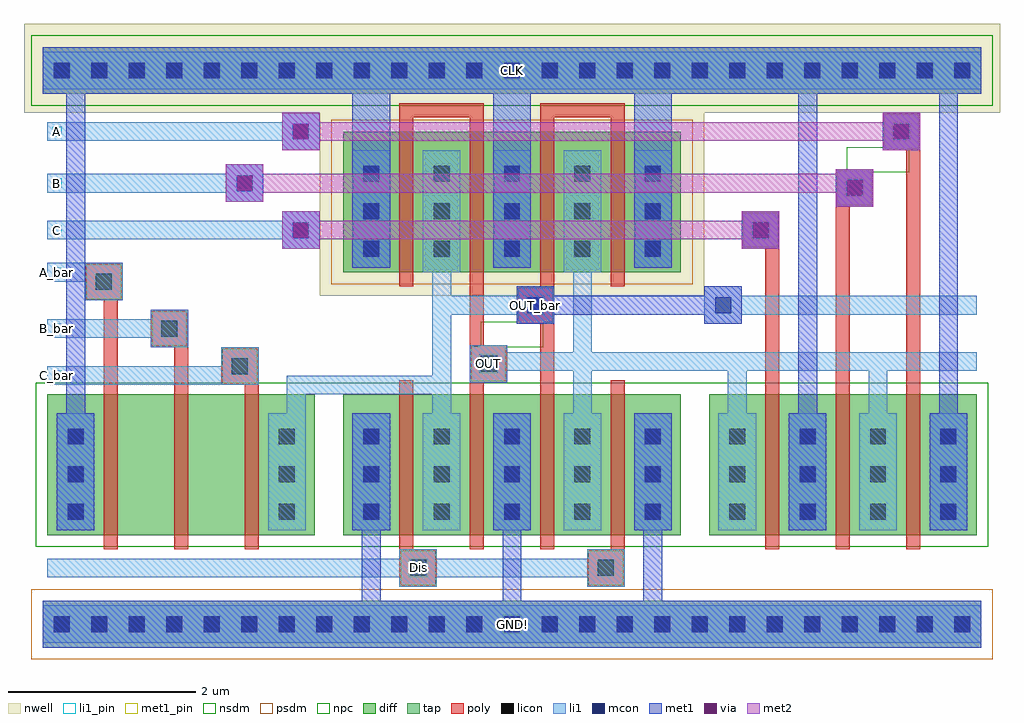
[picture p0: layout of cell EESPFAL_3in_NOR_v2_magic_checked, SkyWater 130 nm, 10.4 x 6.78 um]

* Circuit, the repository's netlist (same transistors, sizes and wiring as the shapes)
* NGSPICE file created from EESPFAL_3in_NOR_v2_magic_checked.ext - technology: sky130A

.subckt EESPFAL_3in_NOR_v2_magic_checked OUT A A_bar B B_bar C C_bar Dis OUT_bar GND
+ CLK
X0 CLK OUT_bar OUT CLK sky130_fd_pr__pfet_01v8 ad=2.7e+12p pd=1.26e+07u as=9e+11p ps=4.2e+06u w=1.5e+06u l=150000u M=2
X1 OUT B CLK GND sky130_fd_pr__nfet_01v8 ad=2.7e+12p pd=1.26e+07u as=7.7e+12p ps=3.36e+07u w=1.5e+06u l=150000u
X2 OUT_bar OUT CLK CLK sky130_fd_pr__pfet_01v8 ad=9e+11p pd=4.2e+06u as=0p ps=0u w=1.5e+06u l=150000u M=2
X3 a_n1990_570# B_bar a_n2140_570# GND sky130_fd_pr__nfet_01v8 ad=9e+11p pd=4.2e+06u as=9e+11p ps=4.2e+06u w=1.5e+06u l=150000u
X4 CLK A OUT GND sky130_fd_pr__nfet_01v8 ad=0p pd=0u as=0p ps=0u w=1.5e+06u l=150000u
X5 OUT OUT_bar GND GND sky130_fd_pr__nfet_01v8 ad=0p pd=0u as=2.7e+12p ps=1.26e+07u w=1.5e+06u l=150000u
X6 CLK C OUT GND sky130_fd_pr__nfet_01v8 ad=0p pd=0u as=0p ps=0u w=1.5e+06u l=150000u
X7 OUT_bar Dis GND GND sky130_fd_pr__nfet_01v8 ad=1.8e+12p pd=8.4e+06u as=0p ps=0u w=1.5e+06u l=150000u
X8 a_n2140_570# A_bar CLK GND sky130_fd_pr__nfet_01v8 ad=0p pd=0u as=0p ps=0u w=1.5e+06u l=150000u
X9 GND Dis OUT GND sky130_fd_pr__nfet_01v8 ad=0p pd=0u as=0p ps=0u w=1.5e+06u l=150000u
X10 OUT_bar C_bar a_n1990_570# GND sky130_fd_pr__nfet_01v8 ad=0p pd=0u as=0p ps=0u w=1.5e+06u l=150000u
X11 GND OUT OUT_bar GND sky130_fd_pr__nfet_01v8 ad=0p pd=0u as=0p ps=0u w=1.5e+06u l=150000u
.ends

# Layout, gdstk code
import gdstk
lib = gdstk.Library(unit=1e-6, precision=1e-09)
def R(c, l, rs):  # rectangles x0, y0, x1, y1
    for r in rs: c.add(gdstk.rectangle(r[:2], r[2:], *l))
def A(c, l, x, y, w, h, nx, ny, dx, dy):  # array of equal rectangles
    R(c, l, [(x+i*dx, y+j*dy, x+i*dx+w, y+j*dy+h) for i in range(nx) for j in range(ny)])
nwell = (64, 20)
diff = (65, 20)
tap = (65, 44)
poly = (66, 20)
licon = (66, 44)
li1_pin = (67, 16)
li1 = (67, 20)
mcon = (67, 44)
met1_pin = (68, 16)
met1 = (68, 20)
via = (68, 44)
met2 = (69, 20)
nsdm = (93, 44)
psdm = (94, 20)
npc = (95, 20)

eespfal_3in_nor_v2_magic = lib.new_cell('EESPFAL_3in_NOR_v2_magic_checked')
R(eespfal_3in_nor_v2_magic, nwell, [(-8.55,5.4,-4.45,7.35), (-11.7,7.35,-1.3,8.3)])
R(eespfal_3in_nor_v2_magic, diff, [(-11.45,2.85,-8.6,4.35), (-8.3,2.85,-4.7,4.35), (-4.4,2.85,-1.55,4.35), (-8.3,5.65,-4.7,7.15)])
R(eespfal_3in_nor_v2_magic, tap, [(-11.5,1.65,-1.5,2.15), (-11.5,7.55,-1.5,8.05)])
R(eespfal_3in_nor_v2_magic, poly, [(-7.7,2.3,-7.3,2.7), (-5.7,2.3,-5.3,2.7), (-10.85,2.7,-10.7,5.35), (-10.1,2.7,-9.95,4.85), (-9.35,2.7,-9.2,4.45), (-7.7,2.7,-7.55,4.5), (-6.95,2.7,-6.8,4.475), (-6.2,2.7,-6.05,5.1), (-5.45,2.7,-5.3,4.5), (-3.8,2.7,-3.65,5.9), (-3.05,2.7,-2.9,6.35), (-2.3,2.7,-2.15,6.95), (-9.6,4.45,-9.2,4.85), (-6.95,4.475,-6.55,4.875), (-10.35,4.85,-9.95,5.25), (-6.95,4.875,-6.8,7.3), (-6.45,5.1,-6.05,5.5), (-11.05,5.35,-10.65,5.75), (-7.7,5.5,-7.55,7.3), (-6.2,5.5,-6.05,7.3), (-5.45,5.5,-5.3,7.3), (-4.05,5.9,-3.65,6.3), (-3.05,6.35,-2.65,6.75), (-2.55,6.95,-2.15,7.35), (-7.7,7.3,-6.8,7.45), (-6.2,7.3,-5.3,7.45)])
A(eespfal_3in_nor_v2_magic, licon, -11.385, 1.815, 0.17, 0.17, 25, 2, 0.4, 5.9)
A(eespfal_3in_nor_v2_magic, licon, -11.235, 3.015, 0.17, 0.17, 1, 3, 0, 0.4)
A(eespfal_3in_nor_v2_magic, licon, -8.985, 3.015, 0.17, 0.17, 1, 3, 0, 0.4)
A(eespfal_3in_nor_v2_magic, licon, -8.085, 3.015, 0.17, 0.17, 5, 3, 0.75, 0.4)
A(eespfal_3in_nor_v2_magic, licon, -4.185, 3.015, 0.17, 0.17, 4, 3, 0.75, 0.4)
A(eespfal_3in_nor_v2_magic, licon, -8.085, 5.815, 0.17, 0.17, 5, 3, 0.75, 0.4)
R(eespfal_3in_nor_v2_magic, licon, [(-7.585,2.415,-7.415,2.585), (-5.585,2.415,-5.415,2.585), (-9.485,4.565,-9.315,4.735), (-6.835,4.59,-6.665,4.76), (-10.235,4.965,-10.065,5.135), (-6.335,5.215,-6.165,5.385), (-10.935,5.465,-10.765,5.635), (-3.935,6.015,-3.765,6.185), (-2.935,6.465,-2.765,6.635), (-2.435,7.065,-2.265,7.235)])
R(eespfal_3in_nor_v2_magic, li1_pin, [(-7.6,2.4,-7.4,2.6), (-11.4,4.5,-11.3,4.6), (-6.85,4.575,-6.65,4.775), (-11.4,5,-11.3,5.1), (-11.4,5.6,-11.3,5.7), (-11.4,6.05,-11.3,6.15), (-11.4,6.55,-11.3,6.65), (-11.4,7.1,-11.3,7.2)])
A(eespfal_3in_nor_v2_magic, li1, -8.2, 2.9, 0.4, 1.25, 5, 1, 0.75, 0)
A(eespfal_3in_nor_v2_magic, li1, -4.3, 2.9, 0.4, 1.25, 4, 1, 0.75, 0)
A(eespfal_3in_nor_v2_magic, li1, -8.2, 5.7, 0.4, 1.25, 3, 1, 1.5, 0)
R(eespfal_3in_nor_v2_magic, li1, [(-11.5,1.7,-1.5,2.1), (-7.7,2.3,-7.3,2.4), (-5.7,2.3,-5.3,2.4), (-11.45,2.4,-5.3,2.6), (-7.7,2.6,-7.3,2.7), (-5.7,2.6,-5.3,2.7), (-11.35,2.9,-10.95,4.15), (-9.1,2.9,-8.7,4.15), (-8.9,4.15,-8.7,4.35), (-7.35,4.15,-7.15,4.35), (-5.85,4.15,-5.65,4.6), (-4.2,4.15,-4,4.6), (-2.7,4.15,-2.5,4.6), (-8.9,4.35,-7.15,4.55), (-11.45,4.45,-9.2,4.65), (-6.95,4.475,-6.55,4.6), (-7.35,4.55,-7.15,5.2), (-6.95,4.6,-1.55,4.8), (-9.6,4.65,-9.2,4.85), (-6.95,4.8,-6.55,4.875), (-5.85,4.8,-5.65,5.65), (-10.35,4.85,-9.95,4.95), (-11.45,4.95,-9.95,5.15), (-6.45,5.1,-6.05,5.2), (-4.45,5.1,-4.05,5.2), (-10.35,5.15,-9.95,5.25), (-7.35,5.2,-6.05,5.4), (-4.45,5.2,-1.55,5.4), (-11.05,5.35,-10.65,5.55), (-7.35,5.4,-7.15,5.65), (-6.45,5.4,-6.05,5.5), (-4.45,5.4,-4.05,5.5), (-11.45,5.55,-10.65,5.75), (-7.45,5.65,-7.05,6.95), (-5.95,5.65,-5.55,6.95), (-8.95,5.9,-8.55,6), (-4.05,5.9,-3.65,6.3), (-11.45,6,-8.55,6.2), (-8.95,6.2,-8.55,6.3), (-3.05,6.35,-2.65,6.75), (-9.55,6.4,-9.15,6.5), (-11.45,6.5,-9.15,6.7), (-9.55,6.7,-9.15,6.8), (-8.95,6.95,-8.55,7.05), (-2.55,6.95,-2.15,7.35), (-11.45,7.05,-8.55,7.25), (-8.95,7.25,-8.55,7.35), (-11.5,7.6,-1.5,8)])
A(eespfal_3in_nor_v2_magic, mcon, -11.385, 1.815, 0.17, 0.17, 25, 2, 0.4, 5.9)
A(eespfal_3in_nor_v2_magic, mcon, -11.235, 3.015, 0.17, 0.17, 1, 3, 0, 0.4)
A(eespfal_3in_nor_v2_magic, mcon, -8.085, 3.015, 0.17, 0.17, 3, 3, 1.5, 0.4)
A(eespfal_3in_nor_v2_magic, mcon, -3.435, 3.015, 0.17, 0.17, 1, 3, 0, 0.4)
A(eespfal_3in_nor_v2_magic, mcon, -1.935, 3.015, 0.17, 0.17, 1, 3, 0, 0.4)
A(eespfal_3in_nor_v2_magic, mcon, -8.085, 5.815, 0.17, 0.17, 3, 3, 1.5, 0.4)
R(eespfal_3in_nor_v2_magic, mcon, [(-6.335,5.215,-6.165,5.385), (-4.335,5.215,-4.165,5.385), (-8.835,6.015,-8.665,6.185), (-3.935,6.015,-3.765,6.185), (-2.935,6.465,-2.765,6.635), (-9.435,6.515,-9.265,6.685), (-8.835,7.065,-8.665,7.235), (-2.435,7.065,-2.265,7.235)])
R(eespfal_3in_nor_v2_magic, met1_pin, [(-6.6,1.8,-6.4,2), (-6.35,5.2,-6.15,5.4), (-6.6,7.7,-6.4,7.9)])
A(eespfal_3in_nor_v2_magic, met1, -8.1, 2.15, 0.2, 0.75, 3, 1, 1.5, 0)
A(eespfal_3in_nor_v2_magic, met1, -8.2, 2.9, 0.4, 1.25, 3, 1, 1.5, 0)
A(eespfal_3in_nor_v2_magic, met1, -8.2, 5.7, 0.4, 1.85, 3, 1, 1.5, 0)
R(eespfal_3in_nor_v2_magic, met1, [(-11.5,1.65,-1.5,2.15), (-11.35,2.9,-10.95,4.15), (-3.55,2.9,-3.15,4.15), (-2.05,2.9,-1.65,4.15), (-11.25,4.15,-11.05,7.55), (-3.45,4.15,-3.25,7.55), (-1.95,4.15,-1.75,7.55), (-6.45,5.1,-6.05,5.2), (-4.45,5.1,-4.05,5.2), (-6.45,5.2,-4.05,5.4), (-6.45,5.4,-6.05,5.5), (-4.45,5.4,-4.05,5.5), (-8.95,5.9,-8.55,6.3), (-4.05,5.9,-3.65,6.3), (-3.05,6.35,-2.65,6.75), (-9.55,6.4,-9.15,6.8), (-8.95,6.95,-8.55,7.35), (-2.55,6.95,-2.15,7.35), (-11.5,7.55,-1.5,8.05)])
R(eespfal_3in_nor_v2_magic, via, [(-8.825,6.025,-8.675,6.175), (-3.925,6.025,-3.775,6.175), (-2.925,6.475,-2.775,6.625), (-9.425,6.525,-9.275,6.675), (-8.825,7.075,-8.675,7.225), (-2.425,7.075,-2.275,7.225)])
R(eespfal_3in_nor_v2_magic, met2, [(-8.95,5.9,-8.55,6), (-4.05,5.9,-3.65,6), (-8.95,6,-3.65,6.2), (-8.95,6.2,-8.55,6.3), (-4.05,6.2,-3.65,6.3), (-3.05,6.35,-2.65,6.5), (-9.55,6.4,-9.15,6.5), (-9.55,6.5,-2.65,6.7), (-9.55,6.7,-9.15,6.8), (-3.05,6.7,-2.65,6.75), (-8.95,6.95,-8.55,7.05), (-2.55,6.95,-2.15,7.05), (-8.95,7.05,-2.15,7.25), (-8.95,7.25,-8.55,7.35), (-2.55,7.25,-2.15,7.35)])
R(eespfal_3in_nor_v2_magic, nsdm, [(-11.575,2.725,-1.425,4.475), (-11.625,7.425,-1.375,8.175)])
R(eespfal_3in_nor_v2_magic, psdm, [(-11.625,1.525,-1.375,2.275), (-8.425,5.525,-4.575,7.275)])
R(eespfal_3in_nor_v2_magic, npc, [(-7.685,2.315,-7.315,2.685), (-5.685,2.315,-5.315,2.685), (-9.585,4.465,-9.215,4.835), (-6.935,4.49,-6.565,4.85), (-6.935,4.85,-6.165,4.86), (-6.835,4.86,-6.165,5.115), (-10.335,4.865,-9.965,5.235), (-6.835,5.115,-6.065,5.125), (-6.435,5.125,-6.065,5.485), (-11.035,5.365,-10.665,5.735), (-4.035,5.915,-3.665,6.285), (-3.035,6.365,-2.665,6.715), (-3.035,6.715,-2.265,6.735), (-2.935,6.735,-2.265,6.965), (-2.935,6.965,-2.165,6.985), (-2.535,6.985,-2.165,7.335)])
eespfal_3in_nor_v2_magic.add(gdstk.Label('OUT', (-6.75,4.675), layer=67, texttype=16))
eespfal_3in_nor_v2_magic.add(gdstk.Label('A', (-11.35,7.15), layer=67, texttype=16))
eespfal_3in_nor_v2_magic.add(gdstk.Label('A_bar', (-11.35,5.65), layer=67, texttype=16))
eespfal_3in_nor_v2_magic.add(gdstk.Label('B', (-11.35,6.6), layer=67, texttype=16))
eespfal_3in_nor_v2_magic.add(gdstk.Label('B_bar', (-11.35,5.05), layer=67, texttype=16))
eespfal_3in_nor_v2_magic.add(gdstk.Label('C', (-11.35,6.1), layer=67, texttype=16))
eespfal_3in_nor_v2_magic.add(gdstk.Label('C_bar', (-11.35,4.55), layer=67, texttype=16))
eespfal_3in_nor_v2_magic.add(gdstk.Label('Dis', (-7.5,2.5), layer=67, texttype=16))
eespfal_3in_nor_v2_magic.add(gdstk.Label('OUT_bar', (-6.25,5.3), layer=68, texttype=16))
eespfal_3in_nor_v2_magic.add(gdstk.Label('GND!', (-6.5,1.9), layer=68, texttype=16))
eespfal_3in_nor_v2_magic.add(gdstk.Label('CLK', (-6.5,7.8), layer=68, texttype=16))

lib.write_gds('EESPFAL_3in_NOR_v2_magic_checked.gds')
